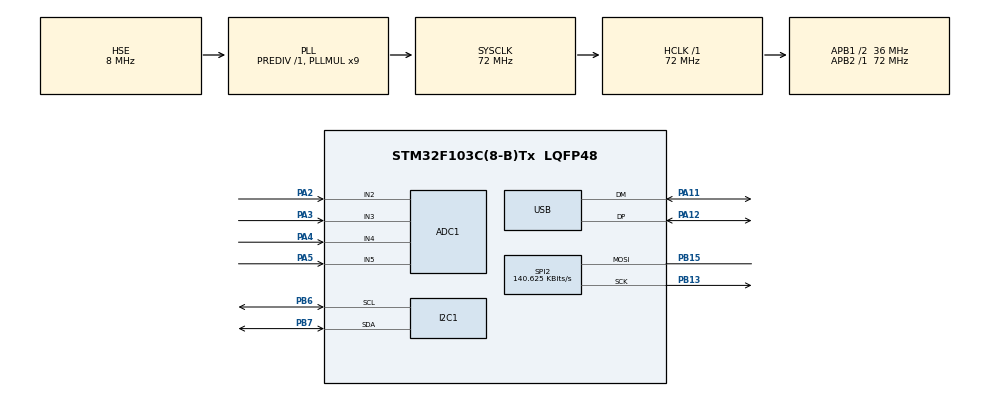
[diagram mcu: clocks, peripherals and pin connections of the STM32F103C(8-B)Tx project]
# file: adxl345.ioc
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ADC1.Channel-0\#ChannelRegularConversion=ADC_CHANNEL_2
ADC1.Channel-1\#ChannelRegularConversion=ADC_CHANNEL_3
ADC1.Channel-2\#ChannelRegularConversion=ADC_CHANNEL_4
ADC1.Channel-3\#ChannelRegularConversion=ADC_CHANNEL_5
ADC1.ContinuousConvMode=ENABLE
ADC1.NbrOfConversion=4
ADC1.NbrOfConversionFlag=1
ADC1.Rank-0\#ChannelRegularConversion=1
ADC1.Rank-1\#ChannelRegularConversion=2
ADC1.Rank-2\#ChannelRegularConversion=3
ADC1.Rank-3\#ChannelRegularConversion=4
ADC1.SamplingTime-0\#ChannelRegularConversion=ADC_SAMPLETIME_1CYCLE_5
ADC1.SamplingTime-1\#ChannelRegularConversion=ADC_SAMPLETIME_1CYCLE_5
ADC1.SamplingTime-2\#ChannelRegularConversion=ADC_SAMPLETIME_1CYCLE_5
ADC1.SamplingTime-3\#ChannelRegularConversion=ADC_SAMPLETIME_1CYCLE_5
ADC1.master=1
Dma.ADC1.0.Direction=DMA_PERIPH_TO_MEMORY
Dma.ADC1.0.Instance=DMA1_Channel1
Dma.ADC1.0.MemDataAlignment=DMA_MDATAALIGN_HALFWORD
Dma.ADC1.0.MemInc=DMA_MINC_ENABLE
Dma.ADC1.0.Mode=DMA_NORMAL
Dma.ADC1.0.PeriphDataAlignment=DMA_PDATAALIGN_HALFWORD
Dma.ADC1.0.PeriphInc=DMA_PINC_DISABLE
Dma.ADC1.0.Priority=DMA_PRIORITY_LOW
Dma.Request0=ADC1
Mcu.Family=STM32F1
Mcu.Name=STM32F103C(8-B)Tx
Mcu.Package=LQFP48
NVIC.DMA1_Channel1_IRQn=true\:0\:0\:false\:false\:true\:false\:true
NVIC.PriorityGroup=NVIC_PRIORITYGROUP_4
NVIC.USB_LP_CAN1_RX0_IRQn=true\:0\:0\:false\:false\:true\:false\:true
PA11.Mode=Device
PA11.Signal=USB_DM
PA12.Mode=Device
PA12.Signal=USB_DP
PA13.Mode=Serial_Wire
PA13.Signal=SYS_JTMS-SWDIO
PA14.Mode=Serial_Wire
PA14.Signal=SYS_JTCK-SWCLK
PA2.Signal=ADCx_IN2
PA3.Signal=ADCx_IN3
PA4.Signal=ADCx_IN4
PA5.Signal=ADCx_IN5
PB13.Mode=Simplex_Bidirectional_Master
PB13.Signal=SPI2_SCK
PB15.Mode=Simplex_Bidirectional_Master
PB15.Signal=SPI2_MOSI
PB6.Mode=I2C
PB6.Signal=I2C1_SCL
PB7.Mode=I2C
PB7.Signal=I2C1_SDA
PD0-OSC_IN.Mode=HSE-External-Oscillator
PD0-OSC_IN.Signal=RCC_OSC_IN
PD1-OSC_OUT.Mode=HSE-External-Oscillator
PD1-OSC_OUT.Signal=RCC_OSC_OUT
ProjectManager.HeapSize=0x200
ProjectManager.StackSize=0x400
ProjectManager.TargetToolchain=Makefile
RCC.ADCPresc=RCC_ADCPCLK2_DIV6
RCC.AHBFreq_Value=72000000
RCC.APB1CLKDivider=RCC_HCLK_DIV2
RCC.APB1Freq_Value=36000000
RCC.APB1TimFreq_Value=72000000
RCC.APB2Freq_Value=72000000
RCC.APB2TimFreq_Value=72000000
RCC.HCLKFreq_Value=72000000
RCC.PLLMUL=RCC_PLL_MUL9
RCC.PLLSourceVirtual=RCC_PLLSOURCE_HSE
RCC.SYSCLKFreq_VALUE=72000000
RCC.SYSCLKSource=RCC_SYSCLKSOURCE_PLLCLK
RCC.USBFreq_Value=48000000
RCC.USBPrescaler=RCC_USBCLKSOURCE_PLL_DIV1_5
SH.ADCx_IN2.0=ADC1_IN2,IN2
SH.ADCx_IN3.0=ADC1_IN3,IN3
SH.ADCx_IN4.0=ADC1_IN4,IN4
SH.ADCx_IN5.0=ADC1_IN5,IN5
SPI2.BaudRatePrescaler=SPI_BAUDRATEPRESCALER_256
SPI2.CLKPhase=SPI_PHASE_2EDGE
SPI2.CLKPolarity=SPI_POLARITY_HIGH
SPI2.CalculateBaudRate=140.625 KBits/s
SPI2.Direction=SPI_DIRECTION_1LINE
SPI2.Mode=SPI_MODE_MASTER
SPI2.VirtualType=VM_MASTER
USB_DEVICE.CLASS_NAME_FS=CDC
USB_DEVICE.VirtualMode=Cdc
USB_DEVICE.VirtualModeFS=Cdc_FS
VP_USB_DEVICE_VS_USB_DEVICE_CDC_FS.Mode=CDC_FS
board=custom

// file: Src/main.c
/* USER CODE BEGIN Header */
/**
  ******************************************************************************
  * @file           : main.c
  * @brief          : Main program body
  ******************************************************************************
  * @attention
  *
  * <h2><center>&copy; Copyright (c) 2020 STMicroelectronics.
  * All rights reserved.</center></h2>
  *
  * This software component is licensed by ST under Ultimate Liberty license
  * SLA0044, the "License"; You may not use this file except in compliance with
  * the License. You may obtain a copy of the License at:
  *                             www.st.com/SLA0044
  *
  ******************************************************************************
  */
/* USER CODE END Header */

#include "main.h"
#include "adc.h"
#include "dma.h"
#include "i2c.h"
#include "spi.h"
#include "usb_device.h"
#include "gpio.h"

/* USER CODE BEGIN Includes */
#include <string.h>

#include "usbd_cdc_if.h"

#include "common.h"
#include "adxl345.h"
/* USER CODE END Includes */

void SystemClock_Config(void);

int main(void)
{
  /* USER CODE BEGIN 1 */
  static char strbuf[256];
  HAL_StatusTypeDef status = HAL_OK;
  Adxl345I2cHandle hadxl345_i2c;
  Adxl345Handle *hadxl345 = NULL;
  int32_t x = 0;
  int32_t y = 0;
  int32_t z = 0;
  /* USER CODE END 1 */

  /* MCU Configuration--------------------------------------------------------*/

  /* Reset of all peripherals, Initializes the Flash interface and the Systick. */
  HAL_Init();

  /* Configure the system clock */
  SystemClock_Config();

  /* Initialize all configured peripherals */
  MX_GPIO_Init();
  MX_DMA_Init();
  MX_ADC1_Init();
  MX_I2C1_Init();
  MX_SPI2_Init();
  MX_USB_DEVICE_Init();
  /* USER CODE BEGIN 2 */
  status = adxl345_i2c_init(&hadxl345_i2c, &hi2c1, ADXL345_ALT_ADDR, 10);
  hadxl345 = (Adxl345Handle *)&hadxl345_i2c;
  status = adxl345_init(hadxl345);
  if (status != HAL_OK)
  {
    snprintf(strbuf, ARRAYSIZE(strbuf), "init ADXL345 error %d\n", status);
    CDC_Transmit_FS((uint8_t*)strbuf, strlen(strbuf));
  }
  /* USER CODE END 2 */

  /* Infinite loop */
  while (1)
  {

    /* USER CODE BEGIN 3 */
    status = adxl345_get_acc(hadxl345, &x, &y, &z);
    if (HAL_OK == status)
    {
      snprintf(strbuf, ARRAYSIZE(strbuf), "x = %ld, y = %ld, z = %ld\n", x, y, z);
      status = CDC_Transmit_FS((uint8_t*)strbuf, strlen(strbuf));
    }
    else
    {
      snprintf(strbuf, ARRAYSIZE(strbuf), "ADXL345 error %d", status);
      CDC_Transmit_FS((uint8_t*)strbuf, strlen(strbuf));
    }

    HAL_Delay(10);
  }
  /* USER CODE END 3 */
}

void SystemClock_Config(void)
{
  RCC_OscInitTypeDef RCC_OscInitStruct = {0};
  RCC_ClkInitTypeDef RCC_ClkInitStruct = {0};
  RCC_PeriphCLKInitTypeDef PeriphClkInit = {0};

  /** Initializes the CPU, AHB and APB busses clocks
  */
  RCC_OscInitStruct.OscillatorType = RCC_OSCILLATORTYPE_HSE;
  RCC_OscInitStruct.HSEState = RCC_HSE_ON;
  RCC_OscInitStruct.HSEPredivValue = RCC_HSE_PREDIV_DIV1;
  RCC_OscInitStruct.HSIState = RCC_HSI_ON;
  RCC_OscInitStruct.PLL.PLLState = RCC_PLL_ON;
  RCC_OscInitStruct.PLL.PLLSource = RCC_PLLSOURCE_HSE;
  RCC_OscInitStruct.PLL.PLLMUL = RCC_PLL_MUL9;
  if (HAL_RCC_OscConfig(&RCC_OscInitStruct) != HAL_OK)
  {
    Error_Handler();
  }
  /** Initializes the CPU, AHB and APB busses clocks
  */
  RCC_ClkInitStruct.ClockType = RCC_CLOCKTYPE_HCLK|RCC_CLOCKTYPE_SYSCLK
                              |RCC_CLOCKTYPE_PCLK1|RCC_CLOCKTYPE_PCLK2;
  RCC_ClkInitStruct.SYSCLKSource = RCC_SYSCLKSOURCE_PLLCLK;
  RCC_ClkInitStruct.AHBCLKDivider = RCC_SYSCLK_DIV1;
  RCC_ClkInitStruct.APB1CLKDivider = RCC_HCLK_DIV2;
  RCC_ClkInitStruct.APB2CLKDivider = RCC_HCLK_DIV1;

  if (HAL_RCC_ClockConfig(&RCC_ClkInitStruct, FLASH_LATENCY_2) != HAL_OK)
  {
    Error_Handler();
  }
  PeriphClkInit.PeriphClockSelection = RCC_PERIPHCLK_ADC|RCC_PERIPHCLK_USB;
  PeriphClkInit.AdcClockSelection = RCC_ADCPCLK2_DIV6;
  PeriphClkInit.UsbClockSelection = RCC_USBCLKSOURCE_PLL_DIV1_5;
  if (HAL_RCCEx_PeriphCLKConfig(&PeriphClkInit) != HAL_OK)
  {
    Error_Handler();
  }
}

void Error_Handler(void)
{
}

/************************ (C) COPYRIGHT STMicroelectronics *****END OF FILE****/
